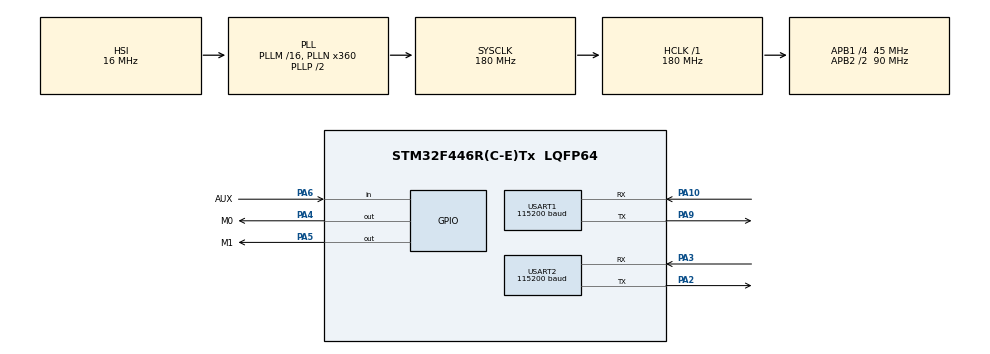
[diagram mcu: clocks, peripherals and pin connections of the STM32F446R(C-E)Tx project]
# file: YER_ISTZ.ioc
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Dma.Request0=USART1_RX
Dma.Request1=USART1_TX
Dma.Request2=USART2_RX
Dma.Request3=USART2_TX
Dma.USART1_RX.0.Direction=DMA_PERIPH_TO_MEMORY
Dma.USART1_RX.0.FIFOMode=DMA_FIFOMODE_DISABLE
Dma.USART1_RX.0.Instance=DMA2_Stream2
Dma.USART1_RX.0.MemDataAlignment=DMA_MDATAALIGN_BYTE
Dma.USART1_RX.0.MemInc=DMA_MINC_ENABLE
Dma.USART1_RX.0.Mode=DMA_NORMAL
Dma.USART1_RX.0.PeriphDataAlignment=DMA_PDATAALIGN_BYTE
Dma.USART1_RX.0.PeriphInc=DMA_PINC_DISABLE
Dma.USART1_RX.0.Priority=DMA_PRIORITY_LOW
Dma.USART1_TX.1.Direction=DMA_MEMORY_TO_PERIPH
Dma.USART1_TX.1.FIFOMode=DMA_FIFOMODE_DISABLE
Dma.USART1_TX.1.Instance=DMA2_Stream7
Dma.USART1_TX.1.MemDataAlignment=DMA_MDATAALIGN_BYTE
Dma.USART1_TX.1.MemInc=DMA_MINC_ENABLE
Dma.USART1_TX.1.Mode=DMA_NORMAL
Dma.USART1_TX.1.PeriphDataAlignment=DMA_PDATAALIGN_BYTE
Dma.USART1_TX.1.PeriphInc=DMA_PINC_DISABLE
Dma.USART1_TX.1.Priority=DMA_PRIORITY_LOW
Dma.USART2_RX.2.Direction=DMA_PERIPH_TO_MEMORY
Dma.USART2_RX.2.FIFOMode=DMA_FIFOMODE_DISABLE
Dma.USART2_RX.2.Instance=DMA1_Stream5
Dma.USART2_RX.2.MemDataAlignment=DMA_MDATAALIGN_BYTE
Dma.USART2_RX.2.MemInc=DMA_MINC_ENABLE
Dma.USART2_RX.2.Mode=DMA_NORMAL
Dma.USART2_RX.2.PeriphDataAlignment=DMA_PDATAALIGN_BYTE
Dma.USART2_RX.2.PeriphInc=DMA_PINC_DISABLE
Dma.USART2_RX.2.Priority=DMA_PRIORITY_LOW
Dma.USART2_TX.3.Direction=DMA_MEMORY_TO_PERIPH
Dma.USART2_TX.3.FIFOMode=DMA_FIFOMODE_DISABLE
Dma.USART2_TX.3.Instance=DMA1_Stream6
Dma.USART2_TX.3.MemDataAlignment=DMA_MDATAALIGN_BYTE
Dma.USART2_TX.3.MemInc=DMA_MINC_ENABLE
Dma.USART2_TX.3.Mode=DMA_NORMAL
Dma.USART2_TX.3.PeriphDataAlignment=DMA_PDATAALIGN_BYTE
Dma.USART2_TX.3.PeriphInc=DMA_PINC_DISABLE
Dma.USART2_TX.3.Priority=DMA_PRIORITY_LOW
Mcu.Family=STM32F4
Mcu.Name=STM32F446R(C-E)Tx
Mcu.Package=LQFP64
NVIC.DMA1_Stream5_IRQn=true\:0\:0\:false\:false\:true\:false\:true\:true
NVIC.DMA1_Stream6_IRQn=true\:0\:0\:false\:false\:true\:false\:true\:true
NVIC.DMA2_Stream2_IRQn=true\:0\:0\:false\:false\:true\:false\:true\:true
NVIC.DMA2_Stream7_IRQn=true\:0\:0\:false\:false\:true\:false\:true\:true
NVIC.PriorityGroup=NVIC_PRIORITYGROUP_4
NVIC.TIM2_IRQn=true\:0\:0\:false\:false\:true\:true\:true\:true
NVIC.USART1_IRQn=true\:0\:0\:false\:false\:true\:true\:true\:true
NVIC.USART2_IRQn=true\:0\:0\:false\:false\:true\:true\:true\:true
PA10.Mode=Asynchronous
PA10.Signal=USART1_RX
PA2.Mode=Asynchronous
PA2.Signal=USART2_TX
PA3.Mode=Asynchronous
PA3.Signal=USART2_RX
PA4.GPIO_Label=M0
PA4.Signal=GPIO_Output
PA5.GPIO_Label=M1
PA5.Signal=GPIO_Output
PA6.GPIO_Label=AUX
PA6.Signal=GPIO_Input
PA9.Mode=Asynchronous
PA9.Signal=USART1_TX
ProjectManager.HeapSize=0x200
ProjectManager.StackSize=0x400
ProjectManager.TargetToolchain=STM32CubeIDE
RCC.AHBFreq_Value=180000000
RCC.APB1CLKDivider=RCC_HCLK_DIV4
RCC.APB1Freq_Value=45000000
RCC.APB1TimFreq_Value=90000000
RCC.APB2CLKDivider=RCC_HCLK_DIV2
RCC.APB2Freq_Value=90000000
RCC.APB2TimFreq_Value=180000000
RCC.CortexFreq_Value=180000000
RCC.HCLKFreq_Value=180000000
RCC.HSI_VALUE=16000000
RCC.PLLM=16
RCC.PLLN=360
RCC.PLLP=RCC_PLLP_DIV2
RCC.SYSCLKFreq_VALUE=180000000
RCC.SYSCLKSource=RCC_SYSCLKSOURCE_PLLCLK
RCC.USBFreq_Value=180000000
RCC.VCOOutputFreq_Value=360000000
TIM2.Period=9
TIM2.Prescaler=8999
USART1.BaudRate=115200
USART1.VirtualMode=VM_ASYNC
USART2.BaudRate=115200
USART2.VirtualMode=VM_ASYNC
VP_TIM2_VS_ClockSourceINT.Mode=Internal
board=custom

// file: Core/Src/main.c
/* USER CODE BEGIN Header */
/**
  ******************************************************************************
  * @file           : main.c
  * @brief          : Main program body
  ******************************************************************************
  * @attention
  *
  * Copyright (c) 2026 STMicroelectronics.
  * All rights reserved.
  *
  * This software is licensed under terms that can be found in the LICENSE file
  * in the root directory of this software component.
  * If no LICENSE file comes with this software, it is provided AS-IS.
  *
  ******************************************************************************
  */
/* USER CODE END Header */
#include "main.h"

/* USER CODE BEGIN Includes */
#include "TM.h"
#include "string.h"
/* USER CODE END Includes */

TIM_HandleTypeDef htim2;

UART_HandleTypeDef huart1;
UART_HandleTypeDef huart2;
DMA_HandleTypeDef hdma_usart1_rx;
DMA_HandleTypeDef hdma_usart1_tx;
DMA_HandleTypeDef hdma_usart2_rx;
DMA_HandleTypeDef hdma_usart2_tx;

/* USER CODE BEGIN PV */
volatile uint8_t tx_complete = 1;

// --- Senkronizasyon Değişkenleri ---
volatile uint32_t ms_sayaci          = 0;
volatile uint8_t senkron_mu          = 0;
volatile uint8_t kacan_paket_sayisi  = 0;
volatile uint8_t kor_ucus_bayragi    = 0;

volatile uint8_t mod_degisti_bayragi = 0;
volatile uint8_t veri_geldi_bayragi  = 0;
volatile uint16_t rx_uzunluk         = 0;

volatile int32_t aktif_mod           = YER_MOD_RX;
/* USER CODE END PV */

void SystemClock_Config(void);
static void MX_GPIO_Init(void);
static void MX_DMA_Init(void);
static void MX_USART1_UART_Init(void);
static void MX_USART2_UART_Init(void);
static void MX_TIM2_Init(void);

int main(void)
{

  /* MCU Configuration--------------------------------------------------------*/

  /* Reset of all peripherals, Initializes the Flash interface and the Systick. */
  HAL_Init();

  /* Configure the system clock */
  SystemClock_Config();

  /* Initialize all configured peripherals */
  MX_GPIO_Init();
  MX_DMA_Init();
  MX_USART1_UART_Init();
  MX_USART2_UART_Init();
  MX_TIM2_Init();
  /* USER CODE BEGIN 2 */
  // RF Modülü için M0 ve M1 pinlerini 0 yaparak transparan moda al
  HAL_GPIO_WritePin(GPIOA, M0_Pin, GPIO_PIN_RESET);
  HAL_GPIO_WritePin(GPIOA, M1_Pin, GPIO_PIN_RESET);

  while (HAL_GPIO_ReadPin(GPIOA, AUX_Pin) == GPIO_PIN_RESET) { }
  HAL_Delay(5);

  Telemetri_Dinlemeye_Basla(); // RF'den dinle (USART1)
  PC_Dinlemeye_Basla();        // PC'den dinle (USART2)
  HAL_TIM_Base_Start_IT(&htim2); // 1 ms'lik timer'ı başlat
  /* USER CODE END 2 */

  /* Infinite loop */
  /* USER CODE BEGIN WHILE */
  while (1)
  {
      /* --- GÖREV 1: ZAMAN DİLİMİ KONTROLÜ (Sadece Senkron İse) --- */
      if (senkron_mu && mod_degisti_bayragi)
      {
          mod_degisti_bayragi = 0;

          if (aktif_mod == YER_MOD_TX)
          {
              // [500ms - 1000ms Aralığı]: Yer İstasyonunun konuşma sırası
              while (HAL_GPIO_ReadPin(GPIOA, AUX_Pin) == GPIO_PIN_RESET) {}

              if (yeni_komut_geldi)
              {
                  Komut_Gonder();
                  yeni_komut_geldi = 0;
              }
          }
          else if (aktif_mod == YER_MOD_RX)
          {
              // [Kör Uçuş Kurtarma veya 1050ms Timeout Sonrası RX'e dönüş]
              while (HAL_GPIO_ReadPin(GPIOA, AUX_Pin) == GPIO_PIN_RESET) {}
              Telemetri_Dinlemeye_Basla();
          }
      }

      /* --- GÖREV 2: UYDUDAN TELEMETRİ GELDİ --- */
      if (veri_geldi_bayragi)
      {
          veri_geldi_bayragi = 0;
          Telemetri_Isle(); // Veriyi struct'a al, CRC kontrolü yap ve PC'ye gönder
      }

      /* --- GÖREV 3: PC'DEN ARAYÜZ KOMUTU GELDİ --- */
      if (pc_veri_geldi_bayragi)
      {
          pc_veri_geldi_bayragi = 0;
          PC_Gelen_Veriyi_Isle(); // PC'den gelen veriyi al ve Uydu'ya gönder
      }
    /* USER CODE END WHILE */

  }
}

void SystemClock_Config(void)
{
  RCC_OscInitTypeDef RCC_OscInitStruct = {0};
  RCC_ClkInitTypeDef RCC_ClkInitStruct = {0};

  /** Configure the main internal regulator output voltage
  */
  __HAL_RCC_PWR_CLK_ENABLE();
  __HAL_PWR_VOLTAGESCALING_CONFIG(PWR_REGULATOR_VOLTAGE_SCALE1);

  /** Initializes the RCC Oscillators according to the specified parameters
  * in the RCC_OscInitTypeDef structure.
  */
  RCC_OscInitStruct.OscillatorType = RCC_OSCILLATORTYPE_HSI;
  RCC_OscInitStruct.HSIState = RCC_HSI_ON;
  RCC_OscInitStruct.HSICalibrationValue = RCC_HSICALIBRATION_DEFAULT;
  RCC_OscInitStruct.PLL.PLLState = RCC_PLL_ON;
  RCC_OscInitStruct.PLL.PLLSource = RCC_PLLSOURCE_HSI;
  RCC_OscInitStruct.PLL.PLLM = 16;
  RCC_OscInitStruct.PLL.PLLN = 360;
  RCC_OscInitStruct.PLL.PLLP = RCC_PLLP_DIV2;
  RCC_OscInitStruct.PLL.PLLQ = 2;
  RCC_OscInitStruct.PLL.PLLR = 2;
  if (HAL_RCC_OscConfig(&RCC_OscInitStruct) != HAL_OK)
  {
    Error_Handler();
  }

  /** Activate the Over-Drive mode
  */
  if (HAL_PWREx_EnableOverDrive() != HAL_OK)
  {
    Error_Handler();
  }

  /** Initializes the CPU, AHB and APB buses clocks
  */
  RCC_ClkInitStruct.ClockType = RCC_CLOCKTYPE_HCLK|RCC_CLOCKTYPE_SYSCLK
                              |RCC_CLOCKTYPE_PCLK1|RCC_CLOCKTYPE_PCLK2;
  RCC_ClkInitStruct.SYSCLKSource = RCC_SYSCLKSOURCE_PLLCLK;
  RCC_ClkInitStruct.AHBCLKDivider = RCC_SYSCLK_DIV1;
  RCC_ClkInitStruct.APB1CLKDivider = RCC_HCLK_DIV4;
  RCC_ClkInitStruct.APB2CLKDivider = RCC_HCLK_DIV2;

  if (HAL_RCC_ClockConfig(&RCC_ClkInitStruct, FLASH_LATENCY_5) != HAL_OK)
  {
    Error_Handler();
  }
}

static void MX_TIM2_Init(void)
{

  TIM_ClockConfigTypeDef sClockSourceConfig = {0};
  TIM_MasterConfigTypeDef sMasterConfig = {0};

  htim2.Instance = TIM2;
  htim2.Init.Prescaler = 8999;
  htim2.Init.CounterMode = TIM_COUNTERMODE_UP;
  htim2.Init.Period = 9;
  htim2.Init.ClockDivision = TIM_CLOCKDIVISION_DIV1;
  htim2.Init.AutoReloadPreload = TIM_AUTORELOAD_PRELOAD_DISABLE;
  if (HAL_TIM_Base_Init(&htim2) != HAL_OK)
  {
    Error_Handler();
  }
  sClockSourceConfig.ClockSource = TIM_CLOCKSOURCE_INTERNAL;
  if (HAL_TIM_ConfigClockSource(&htim2, &sClockSourceConfig) != HAL_OK)
  {
    Error_Handler();
  }
  sMasterConfig.MasterOutputTrigger = TIM_TRGO_RESET;
  sMasterConfig.MasterSlaveMode = TIM_MASTERSLAVEMODE_DISABLE;
  if (HAL_TIMEx_MasterConfigSynchronization(&htim2, &sMasterConfig) != HAL_OK)
  {
    Error_Handler();
  }

}

static void MX_USART1_UART_Init(void)
{

  huart1.Instance = USART1;
  huart1.Init.BaudRate = 115200;
  huart1.Init.WordLength = UART_WORDLENGTH_8B;
  huart1.Init.StopBits = UART_STOPBITS_1;
  huart1.Init.Parity = UART_PARITY_NONE;
  huart1.Init.Mode = UART_MODE_TX_RX;
  huart1.Init.HwFlowCtl = UART_HWCONTROL_NONE;
  huart1.Init.OverSampling = UART_OVERSAMPLING_16;
  if (HAL_UART_Init(&huart1) != HAL_OK)
  {
    Error_Handler();
  }

}

static void MX_USART2_UART_Init(void)
{

  huart2.Instance = USART2;
  huart2.Init.BaudRate = 115200;
  huart2.Init.WordLength = UART_WORDLENGTH_8B;
  huart2.Init.StopBits = UART_STOPBITS_1;
  huart2.Init.Parity = UART_PARITY_NONE;
  huart2.Init.Mode = UART_MODE_TX_RX;
  huart2.Init.HwFlowCtl = UART_HWCONTROL_NONE;
  huart2.Init.OverSampling = UART_OVERSAMPLING_16;
  if (HAL_UART_Init(&huart2) != HAL_OK)
  {
    Error_Handler();
  }

}

static void MX_DMA_Init(void)
{

  /* DMA controller clock enable */
  __HAL_RCC_DMA2_CLK_ENABLE();
  __HAL_RCC_DMA1_CLK_ENABLE();

  /* DMA interrupt init */
  /* DMA1_Stream5_IRQn interrupt configuration */
  HAL_NVIC_SetPriority(DMA1_Stream5_IRQn, 0, 0);
  HAL_NVIC_EnableIRQ(DMA1_Stream5_IRQn);
  /* DMA1_Stream6_IRQn interrupt configuration */
  HAL_NVIC_SetPriority(DMA1_Stream6_IRQn, 0, 0);
  HAL_NVIC_EnableIRQ(DMA1_Stream6_IRQn);
  /* DMA2_Stream2_IRQn interrupt configuration */
  HAL_NVIC_SetPriority(DMA2_Stream2_IRQn, 0, 0);
  HAL_NVIC_EnableIRQ(DMA2_Stream2_IRQn);
  /* DMA2_Stream7_IRQn interrupt configuration */
  HAL_NVIC_SetPriority(DMA2_Stream7_IRQn, 0, 0);
  HAL_NVIC_EnableIRQ(DMA2_Stream7_IRQn);

}

static void MX_GPIO_Init(void)
{
  GPIO_InitTypeDef GPIO_InitStruct = {0};

  /* GPIO Ports Clock Enable */
  __HAL_RCC_GPIOA_CLK_ENABLE();

  /*Configure GPIO pin Output Level */
  HAL_GPIO_WritePin(GPIOA, M0_Pin|M1_Pin, GPIO_PIN_RESET);

  /*Configure GPIO pins : M0_Pin M1_Pin */
  GPIO_InitStruct.Pin = M0_Pin|M1_Pin;
  GPIO_InitStruct.Mode = GPIO_MODE_OUTPUT_PP;
  GPIO_InitStruct.Pull = GPIO_NOPULL;
  GPIO_InitStruct.Speed = GPIO_SPEED_FREQ_LOW;
  HAL_GPIO_Init(GPIOA, &GPIO_InitStruct);

  /*Configure GPIO pin : AUX_Pin */
  GPIO_InitStruct.Pin = AUX_Pin;
  GPIO_InitStruct.Mode = GPIO_MODE_INPUT;
  GPIO_InitStruct.Pull = GPIO_NOPULL;
  HAL_GPIO_Init(AUX_GPIO_Port, &GPIO_InitStruct);

}

/* USER CODE BEGIN 4 */
// UART Kesmesi: Uydudan paket geldiğinde (KALP ATIŞI) veya PC'den komut geldiğinde
void HAL_UARTEx_RxEventCallback(UART_HandleTypeDef *huart, uint16_t Size)
{
    if (huart->Instance == USART1) // RF Modülünden (USART1)
    {
        rx_uzunluk = Size;
        veri_geldi_bayragi = 1;

        // --- KALP ATIŞI: UYDUYA KİLİTLEN ---
        ms_sayaci = 0;             // Zamanlayıcıyı sıfırla (0. ms)
        aktif_mod = YER_MOD_RX;    // Şu an hala RX dilimindeyiz
        senkron_mu = 1;            // Senkronizasyon sağlandı
        kacan_paket_sayisi = 0;    // Hata sayacını sıfırla
        kor_ucus_bayragi = 0;

        // Bir sonraki paket için dinlemeyi taze kur
        HAL_UARTEx_ReceiveToIdle_DMA(&huart1, rx_buffer, RF_MAX_PAKET_BOYUTU);
        __HAL_DMA_DISABLE_IT(huart1.hdmarx, DMA_IT_HT);
    }
    else if (huart->Instance == USART2) // PC'den (ST-Link VCP - USART2)
    {
        pc_rx_uzunluk = Size;
        pc_veri_geldi_bayragi = 1;

        // PC'den yeni veri beklemek için tekrar dinlemeyi kur
        HAL_UARTEx_ReceiveToIdle_DMA(&huart2, pc_rx_buffer, RF_MAX_PAKET_BOYUTU);
        __HAL_DMA_DISABLE_IT(huart2.hdmarx, DMA_IT_HT);
    }
}

// Timer Kesmesi: Her 1 ms'de bir çalışır
void HAL_TIM_PeriodElapsedCallback(TIM_HandleTypeDef *htim)
{
    if (htim->Instance == TIM2)
    {
        ms_sayaci++;

        // Yalnızca uyduya senkronize isek zaman dilimlerini işlet
        if (senkron_mu)
        {
            // 500. Milisaniye: Uydunun TX süresi bitti, sıra bizde (Yer İstasyonu TX)
            if (ms_sayaci == 500 && aktif_mod == YER_MOD_RX)
            {
                aktif_mod = YER_MOD_TX;
                mod_degisti_bayragi = 1;
            }

            // 1050. Milisaniye: (Guard Time) - Hala yeni paket gelmediyse bir şeyler ters gitmiştir
            if (ms_sayaci >= 1050)
            {
                ms_sayaci = 0;           // Zamanı başa sar
                aktif_mod = YER_MOD_RX;  // Zorla tekrar dinlemeye geç
                mod_degisti_bayragi = 1;

                kacan_paket_sayisi++;
                kor_ucus_bayragi = 1;    // Şu an ezbere (kör) dinliyoruz

                // Üst üste 3 paket kaçtıysa senkron tamamen koptu kabul et
                if (kacan_paket_sayisi > 3)
                {
                    senkron_mu = 0;
                    // senkron_mu 0 olunca Timer döngüsü durur, sistem sürekli UART dinlemesinde uydudan gelecek ilk paketi bekler.
                }
            }
        }
    }
}

void HAL_UART_TxCpltCallback(UART_HandleTypeDef *huart)
{
    if (huart->Instance == USART1) { // RF Modülü TX bittiğinde
        tx_complete = 1;
        // Komut gönderimi biter bitmez hemen dinlemeye dönebilirsiniz
        Telemetri_Dinlemeye_Basla();
    }
}

void HAL_UART_ErrorCallback(UART_HandleTypeDef *huart)
{
    if (huart->Instance == USART1) { // RF Hata
        HAL_UART_Abort(huart);
        // Hata durumunda RX'i tekrar başlat ki senkron kopmasın
        HAL_UARTEx_ReceiveToIdle_DMA(&huart1, rx_buffer, RF_MAX_PAKET_BOYUTU);
        __HAL_DMA_DISABLE_IT(huart1.hdmarx, DMA_IT_HT);
    }
    else if (huart->Instance == USART2) { // PC Hata
        HAL_UART_Abort(huart);
        HAL_UARTEx_ReceiveToIdle_DMA(&huart2, pc_rx_buffer, RF_MAX_PAKET_BOYUTU);
        __HAL_DMA_DISABLE_IT(huart2.hdmarx, DMA_IT_HT);
    }
}
/* USER CODE END 4 */

void Error_Handler(void)
{
  __disable_irq();
  while (1)
  {
  }
}
